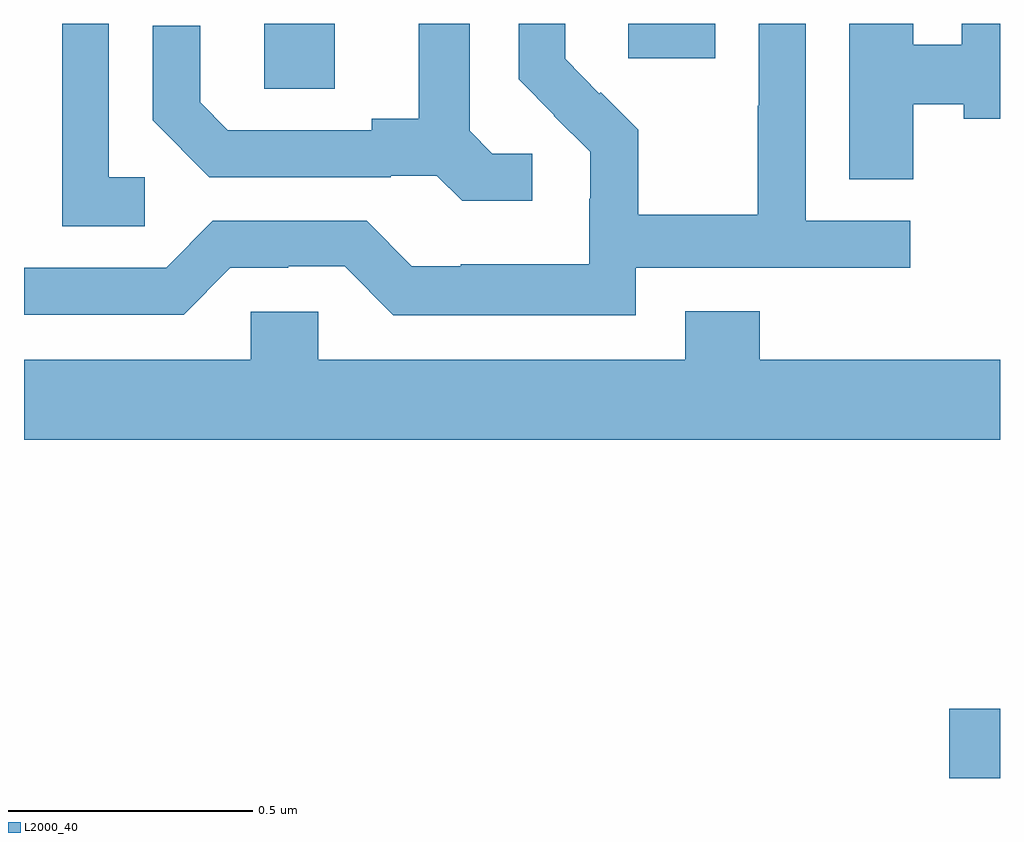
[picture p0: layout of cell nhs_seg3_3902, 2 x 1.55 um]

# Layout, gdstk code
import gdstk
lib = gdstk.Library(unit=1e-6, precision=1e-09)
def R(c, l, rs):  # rectangles x0, y0, x1, y1
    for r in rs: c.add(gdstk.rectangle(r[:2], r[2:], *l))
def P(c, l, *ps):  # polygons
    for p in ps: c.add(gdstk.Polygon(p, *l))
L2000_40 = (2000, 40)

nhs_seg3_3902 = lib.new_cell('nhs_seg3_3902')
R(nhs_seg3_3902, L2000_40, [(160.896,734.854,161,734.996), (159.492,736.267,159.637,736.4), (160.238,736.329,160.417,736.4)])
P(nhs_seg3_3902, L2000_40, [(160.042,736.134),(159.96,736.134),(159.913,736.181),(159.913,736.4),(159.809,736.4),(159.809,736.205),(159.713,736.205),(159.713,736.182),(159.418,736.182),(159.361,736.239),(159.361,736.396),(159.264,736.396),(159.264,736.202),(159.38,736.086),(159.752,736.086),(159.752,736.089),(159.846,736.089),(159.898,736.037),(160.042,736.037)],
  [(160.254,735.9),(160.816,735.9),(160.816,735.996),(160.602,735.996),(160.602,736.4),(160.506,736.4),(160.506,736.232),(160.504,736.232),(160.504,736.009),(160.259,736.009),(160.259,736.183),(160.182,736.26),(160.179,736.257),(160.109,736.328),(160.109,736.4),(160.014,736.4),(160.014,736.286),(160.087,736.213),(160.086,736.212),(160.16,736.138),(160.16,736.041),(160.158,736.041),(160.158,735.907),(159.895,735.907),(159.895,735.903),(159.795,735.903),(159.702,735.996),(159.387,735.996),(159.291,735.9),(159,735.9),(159,735.804),(159.327,735.804),(159.423,735.9),(159.542,735.9),(159.542,735.903),(159.657,735.903),(159.757,735.803),(160.254,735.803)],
  [(159.247,736.086),(159.174,736.086),(159.174,736.4),(159.078,736.4),(159.078,735.985),(159.247,735.985)],
  [(160.822,736.235),(160.926,736.235),(160.926,736.205),(161,736.205),(161,736.4),(160.922,736.4),(160.922,736.357),(160.822,736.357),(160.822,736.4),(160.691,736.4),(160.691,736.081),(160.822,736.081)],
  [(161,735.712),(160.508,735.712),(160.508,735.811),(160.355,735.811),(160.355,735.712),(159.603,735.712),(159.603,735.81),(159.465,735.81),(159.465,735.712),(159,735.712),(159,735.548),(161,735.548)])

lib.write_gds('nhs_seg3_3902.gds')
